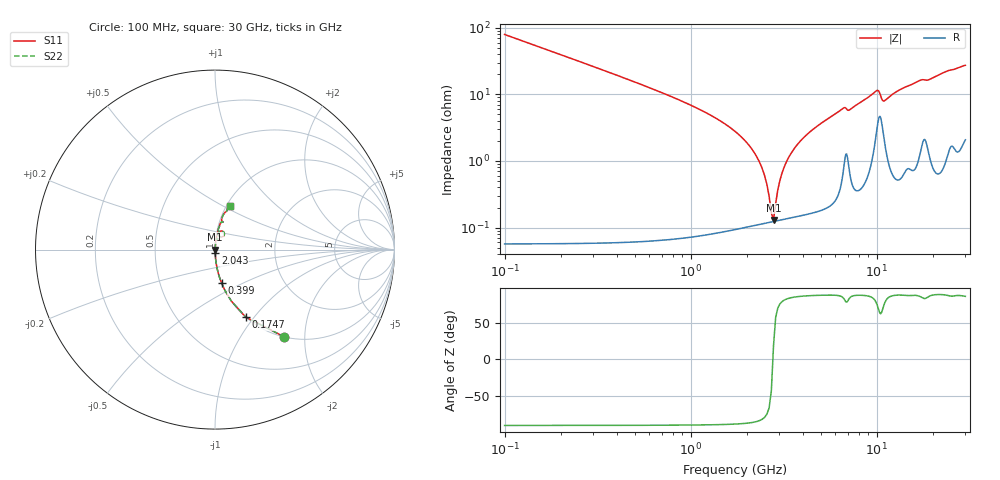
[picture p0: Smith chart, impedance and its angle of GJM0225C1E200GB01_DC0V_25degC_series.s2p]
!Murata Part Number: GJM0225C1E200GB01
!These Parameters are Measured in Series Mode Connection
!  o--ll--o
!Port1  Port2
!  o------o
!Operation Temp=25[degC], DC Bias Voltage=0[V]
!Freq. Start=100[MHz] Stop=30[GHz], 401[Steps]
!Data Generated on Feb 1, 2023
# Hz S RI R 50
!Freq.(Hz) S11(Real) S11(Imag) S21(Real) S21(Imag) S12(Real) S12(Imag) S22(Real) S22(Imag)
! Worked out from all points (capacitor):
!   401 points, 100 MHz to 30 GHz, reference 50 ohm
!   read as one part in series: C = 20 pF near 249.5 MHz
!   lowest |Z| = 131 mohm at 2.791 GHz (marker M1)
!   series resonance near 2.77 GHz, so ESL is about 160 pH
!   S11 on the Smith chart (normalised r, x): 100 MHz: 1.00, -1.59; 174.8 MHz: 1.00, -0.91; 399 MHz: 1.00, -0.39; 2.043 GHz: 1.00, -0.04; 30 GHz: 1.04, +0.55
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1e8  0.3872 -0.4867  0.6128 0.4867  0.6128 0.4867  0.3872 -0.4867
1.7475e8  0.1709 -0.3758  0.8291 0.3758  0.8291 0.3758  0.1709 -0.3758
3.99e8  0.0372 -0.1879  0.9628 0.1879  0.9628 0.1879  0.0372 -0.1879
8.475e8  0.00783 -0.0843  0.9922 0.0843  0.9922 0.0843  0.00783 -0.0843
2.0435e9  0.00134 -0.0176  0.9987 0.0176  0.9987 0.0176  0.00134 -0.0176
2.3425e9  0.0012 -0.00961  0.9988 0.00961  0.9988 0.00961  0.0012 -0.00961
2.492e9  0.00119 -0.00605  0.9988 0.00605  0.9988 0.00605  0.00119 -0.00605
2.6415e9  0.0012 -0.00272  0.9988 0.00272  0.9988 0.00272  0.0012 -0.00272
2.791e9  0.00123 0.000425  0.9988 -0.000425  0.9988 -0.000425  0.00123 0.000425
2.86575e9  0.00126 0.00193  0.9987 -0.00193  0.9987 -0.00193  0.00126 0.00193
3.16475e9  0.00138 0.00762  0.9986 -0.00762  0.9986 -0.00762  0.00138 0.00762
3.5385e9  0.00161 0.0141  0.9984 -0.0141  0.9984 -0.0141  0.00161 0.0141
4.1365e9  0.00211 0.0236  0.9979 -0.0236  0.9979 -0.0236  0.00211 0.0236
5.10825e9  0.00326 0.0377  0.9967 -0.0377  0.9967 -0.0377  0.00326 0.0377
6.60325e9  0.0104 0.0606  0.9896 -0.0606  0.9896 -0.0606  0.0104 0.0606
7.1265e9  0.0105 0.0568  0.9895 -0.0568  0.9895 -0.0568  0.0105 0.0568
1.01165e10  0.0444 0.1011  0.9556 -0.1011  0.9556 -0.1011  0.0444 0.1011
1.093875e10  0.0273 0.0728  0.9727 -0.0728  0.9727 -0.0728  0.0273 0.0728
1.505e10  0.0254 0.132  0.9746 -0.132  0.9746 -0.132  0.0254 0.132
2.005825e10  0.0376 0.1696  0.9624 -0.1696  0.9624 -0.1696  0.0376 0.1696
2.50665e10  0.0649 0.2135  0.9351 -0.2135  0.9351 -0.2135  0.0649 0.2135
3e10  0.0858 0.2445  0.9142 -0.2445  0.9142 -0.2445  0.0858 0.2445
